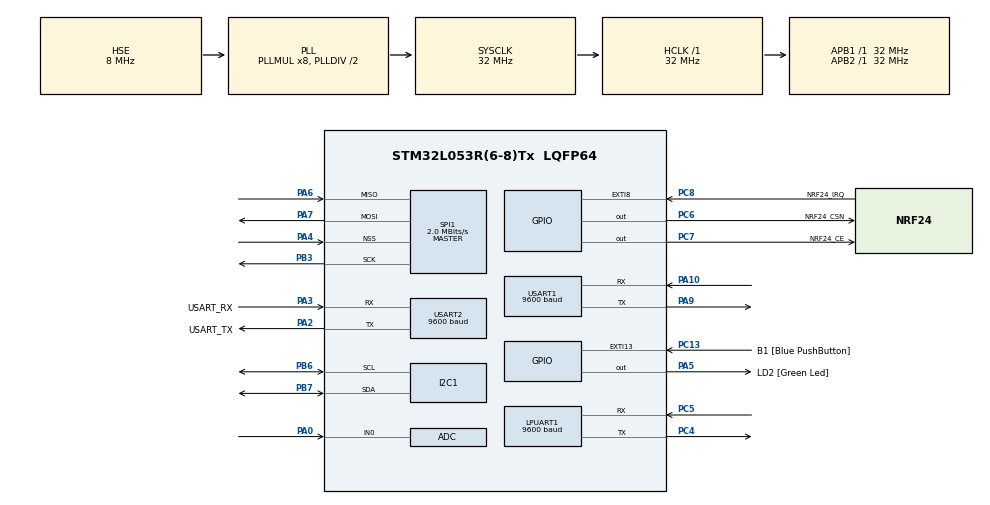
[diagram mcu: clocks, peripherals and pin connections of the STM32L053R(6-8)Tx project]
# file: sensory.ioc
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ADC.ClockPrescaler=ADC_CLOCK_ASYNC_DIV1
ADC.ContinuousConvMode=ENABLE
ADC.DMAContinuousRequests=ENABLE
ADC.SamplingTime=ADC_SAMPLETIME_160CYCLES_5
Dma.ADC.0.Direction=DMA_PERIPH_TO_MEMORY
Dma.ADC.0.Instance=DMA1_Channel1
Dma.ADC.0.MemDataAlignment=DMA_MDATAALIGN_WORD
Dma.ADC.0.MemInc=DMA_MINC_ENABLE
Dma.ADC.0.Mode=DMA_CIRCULAR
Dma.ADC.0.PeriphDataAlignment=DMA_PDATAALIGN_WORD
Dma.ADC.0.PeriphInc=DMA_PINC_DISABLE
Dma.ADC.0.Priority=DMA_PRIORITY_LOW
Dma.Request0=ADC
I2C1.Timing=0x00707CBB
LPUART1.BaudRate=9600
LPUART1.Mode=UART_MODE_TX_RX
LPUART1.OneBitSampling=UART_ONE_BIT_SAMPLE_DISABLE
LPUART1.OverrunDisableParam=UART_ADVFEATURE_OVERRUN_DISABLE
LPUART1.WordLength=UART_WORDLENGTH_8B
Mcu.Family=STM32L0
Mcu.Name=STM32L053R(6-8)Tx
Mcu.Package=LQFP64
NVIC.DMA1_Channel1_IRQn=true\:1\:0\:true\:false\:true\:false\:true\:true
NVIC.EXTI4_15_IRQn=true\:0\:0\:false\:false\:true\:true\:true\:true
NVIC.RNG_LPUART1_IRQn=true\:0\:0\:false\:false\:true\:true\:true\:true
NVIC.TIM6_DAC_IRQn=true\:3\:0\:true\:false\:true\:true\:true\:true
NVIC.USART1_IRQn=true\:0\:0\:true\:false\:true\:true\:true\:true
NVIC.USART2_IRQn=true\:0\:0\:false\:false\:true\:true\:true\:true
PA0.Mode=IN0
PA0.Signal=ADC_IN0
PA10.Mode=Asynchronous
PA10.Signal=USART1_RX
PA13.GPIO_Label=TMS
PA13.Mode=Serial_Wire
PA13.Signal=SYS_SWDIO
PA14.GPIO_Label=TCK
PA14.Mode=Serial_Wire
PA14.Signal=SYS_SWCLK
PA2.GPIO_Label=USART_TX
PA2.Mode=Asynchronous
PA2.Signal=USART2_TX
PA3.GPIO_Label=USART_RX
PA3.Mode=Asynchronous
PA3.Signal=USART2_RX
PA4.Mode=NSS_Signal_Hard_Input
PA4.Signal=SPI1_NSS
PA5.GPIO_Label=LD2 [Green Led]
PA5.Signal=GPIO_Output
PA6.Mode=Full_Duplex_Master
PA6.Signal=SPI1_MISO
PA7.Mode=Full_Duplex_Master
PA7.Signal=SPI1_MOSI
PA9.Mode=Asynchronous
PA9.Signal=USART1_TX
PB3.Mode=Full_Duplex_Master
PB3.Signal=SPI1_SCK
PB6.Mode=I2C
PB6.Signal=I2C1_SCL
PB7.Mode=I2C
PB7.Signal=I2C1_SDA
PC13.GPIO_Label=B1 [Blue PushButton]
PC13.GPIO_ModeDefaultEXTI=GPIO_MODE_IT_FALLING
PC13.Signal=GPXTI13
PC14-OSC32_IN.Mode=LSE-External-Oscillator
PC14-OSC32_IN.Signal=RCC_OSC32_IN
PC15-OSC32_OUT.Mode=LSE-External-Oscillator
PC15-OSC32_OUT.Signal=RCC_OSC32_OUT
PC4.Mode=Asynchronous
PC4.Signal=LPUART1_TX
PC5.Mode=Asynchronous
PC5.Signal=LPUART1_RX
PC6.GPIO_Label=NRF24_CSN
PC6.Signal=GPIO_Output
PC7.GPIO_Label=NRF24_CE
PC7.Signal=GPIO_Output
PC8.GPIO_Label=NRF24_IRQ
PC8.Signal=GPXTI8
PH0-OSC_IN.Mode=HSE-External-Clock-Source
PH0-OSC_IN.Signal=RCC_OSC_IN
PH1-OSC_OUT.Signal=RCC_OSC_OUT
ProjectManager.HeapSize=0x200
ProjectManager.StackSize=0x400
ProjectManager.TargetToolchain=STM32CubeIDE
RCC.AHBFreq_Value=32000000
RCC.APB1Freq_Value=32000000
RCC.APB1TimFreq_Value=32000000
RCC.APB2Freq_Value=32000000
RCC.APB2TimFreq_Value=32000000
RCC.HCLKFreq_Value=32000000
RCC.HSE_VALUE=8000000
RCC.HSI16_VALUE=16000000
RCC.HSI48_VALUE=48000000
RCC.HSI_VALUE=16000000
RCC.MSI_VALUE=2097000
RCC.PLLMUL=RCC_PLLMUL_8
RCC.PLLSourceVirtual=RCC_PLLSOURCE_HSE
RCC.SYSCLKFreq_VALUE=32000000
RCC.SYSCLKSource=RCC_SYSCLKSOURCE_PLLCLK
RCC.VCOOutputFreq_Value=64000000
SPI1.BaudRatePrescaler=SPI_BAUDRATEPRESCALER_16
SPI1.CalculateBaudRate=2.0 MBits/s
SPI1.DataSize=SPI_DATASIZE_8BIT
SPI1.Direction=SPI_DIRECTION_2LINES
SPI1.Mode=SPI_MODE_MASTER
SPI1.VirtualNSS=VM_NSSHARD
SPI1.VirtualType=VM_MASTER
TIM6.Period=9999
TIM6.Prescaler=3199
USART1.BaudRate=9600
USART1.Mode=MODE_RX
USART1.OverrunDisableParam=ADVFEATURE_OVERRUN_DISABLE
USART1.VirtualMode-Asynchronous=VM_ASYNC
USART2.BaudRate=9600
USART2.VirtualMode-Asynchronous=VM_ASYNC
VP_TIM6_VS_ClockSourceINT.Mode=Enable_Timer
board=NUCLEO-L053R8

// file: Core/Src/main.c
/* USER CODE BEGIN Header */
/**
  ******************************************************************************
  * @file           : main.c
  * @brief          : Main program body
  ******************************************************************************
  * @attention
  *
  * Copyright (c) 2024 STMicroelectronics.
  * All rights reserved.
  *
  * This software is licensed under terms that can be found in the LICENSE file
  * in the root directory of this software component.
  * If no LICENSE file comes with this software, it is provided AS-IS.
  *
  ******************************************************************************
  */
/* USER CODE END Header */
#include "main.h"
#include "adc.h"
#include "dma.h"
#include "i2c.h"
#include "usart.h"
#include "spi.h"
#include "tim.h"
#include "gpio.h"

/* USER CODE BEGIN Includes */

#include <string.h>
#include <stdio.h>
#include <stdbool.h>
#include <nRF24.h>

/* USER CODE END Includes */

/* USER CODE BEGIN PD */

//#define LINE_MAX_LENGTH	80

/* USER CODE END PD */

void SystemClock_Config(void);

/* USER CODE BEGIN 0 */

uint8_t Nrf24_Message[NRF24_PAYLOAD_SIZE];
uint8_t UARTMessage[NRF24_PAYLOAD_SIZE];
uint8_t Message[NRF24_PAYLOAD_SIZE];
uint8_t MessageLength;

void HAL_UART_RxCpltCallback(UART_HandleTypeDef *huart)
{
  if(huart == &hlpuart1)
  {
	  HAL_UART_Receive_IT(&hlpuart1, UARTMessage, sizeof(UARTMessage)); // receive from pcb
	  HAL_UART_Transmit_IT(&huart2, UARTMessage, sizeof(UARTMessage)); // send to pc
  }
}

void HAL_TIM_PeriodElapsedCallback(TIM_HandleTypeDef *htim)
{
  if (htim == &htim6) {
    HAL_GPIO_TogglePin(LD2_GPIO_Port, LD2_Pin);

//    HAL_UART_Transmit_IT(&huart2, ".", 1);
  }
}

/* USER CODE END 0 */

int main(void)
{

  /* MCU Configuration--------------------------------------------------------*/

  /* Reset of all peripherals, Initializes the Flash interface and the Systick. */
  HAL_Init();

  /* Configure the system clock */
  SystemClock_Config();

  /* Initialize all configured peripherals */
  MX_GPIO_Init();
  MX_DMA_Init();
  MX_I2C1_Init();
  MX_USART1_UART_Init();
  MX_USART2_UART_Init();
  MX_SPI1_Init();
  MX_TIM6_Init();
  MX_ADC_Init();
  MX_LPUART1_UART_Init();

  /* Infinite loop */
  /* USER CODE BEGIN WHILE */

  HAL_TIM_Base_Start_IT(&htim6);
  HAL_UART_Receive_IT(&hlpuart1, UARTMessage, sizeof(UARTMessage));

  // NRF RECEIVER
  nRF24_Init(&hspi1);
  nRF24_SetRXAddress(0, "Odb");
  nRF24_SetTXAddress("Nad");
  nRF24_RX_Mode();
  uint8_t size = 0;

  while (1)
  {
	  /////////////// NRF ///////////////

	  if(nRF24_RXAvailible())
	  {
		  nRF24_ReadRXPaylaod(Nrf24_Message, &size);
		  MessageLength = sprintf(Message, "%c\n\r", Nrf24_Message);
		  HAL_UART_Transmit(&huart2, Message, MessageLength, 1000);
	  }

    /* USER CODE END WHILE */

  }
}

void SystemClock_Config(void)
{
  RCC_OscInitTypeDef RCC_OscInitStruct = {0};
  RCC_ClkInitTypeDef RCC_ClkInitStruct = {0};
  RCC_PeriphCLKInitTypeDef PeriphClkInit = {0};

  /** Configure the main internal regulator output voltage
  */
  __HAL_PWR_VOLTAGESCALING_CONFIG(PWR_REGULATOR_VOLTAGE_SCALE1);

  /** Initializes the RCC Oscillators according to the specified parameters
  * in the RCC_OscInitTypeDef structure.
  */
  RCC_OscInitStruct.OscillatorType = RCC_OSCILLATORTYPE_HSI|RCC_OSCILLATORTYPE_HSE;
  RCC_OscInitStruct.HSEState = RCC_HSE_BYPASS;
  RCC_OscInitStruct.HSIState = RCC_HSI_ON;
  RCC_OscInitStruct.HSICalibrationValue = RCC_HSICALIBRATION_DEFAULT;
  RCC_OscInitStruct.PLL.PLLState = RCC_PLL_ON;
  RCC_OscInitStruct.PLL.PLLSource = RCC_PLLSOURCE_HSE;
  RCC_OscInitStruct.PLL.PLLMUL = RCC_PLLMUL_8;
  RCC_OscInitStruct.PLL.PLLDIV = RCC_PLLDIV_2;
  if (HAL_RCC_OscConfig(&RCC_OscInitStruct) != HAL_OK)
  {
    Error_Handler();
  }

  /** Initializes the CPU, AHB and APB buses clocks
  */
  RCC_ClkInitStruct.ClockType = RCC_CLOCKTYPE_HCLK|RCC_CLOCKTYPE_SYSCLK
                              |RCC_CLOCKTYPE_PCLK1|RCC_CLOCKTYPE_PCLK2;
  RCC_ClkInitStruct.SYSCLKSource = RCC_SYSCLKSOURCE_PLLCLK;
  RCC_ClkInitStruct.AHBCLKDivider = RCC_SYSCLK_DIV1;
  RCC_ClkInitStruct.APB1CLKDivider = RCC_HCLK_DIV1;
  RCC_ClkInitStruct.APB2CLKDivider = RCC_HCLK_DIV1;

  if (HAL_RCC_ClockConfig(&RCC_ClkInitStruct, FLASH_LATENCY_1) != HAL_OK)
  {
    Error_Handler();
  }
  PeriphClkInit.PeriphClockSelection = RCC_PERIPHCLK_USART1|RCC_PERIPHCLK_USART2
                              |RCC_PERIPHCLK_LPUART1|RCC_PERIPHCLK_I2C1;
  PeriphClkInit.Usart1ClockSelection = RCC_USART1CLKSOURCE_PCLK2;
  PeriphClkInit.Usart2ClockSelection = RCC_USART2CLKSOURCE_PCLK1;
  PeriphClkInit.Lpuart1ClockSelection = RCC_LPUART1CLKSOURCE_PCLK1;
  PeriphClkInit.I2c1ClockSelection = RCC_I2C1CLKSOURCE_PCLK1;
  if (HAL_RCCEx_PeriphCLKConfig(&PeriphClkInit) != HAL_OK)
  {
    Error_Handler();
  }
}

void Error_Handler(void)
{
  __disable_irq();
  while (1)
  {
  }
}
